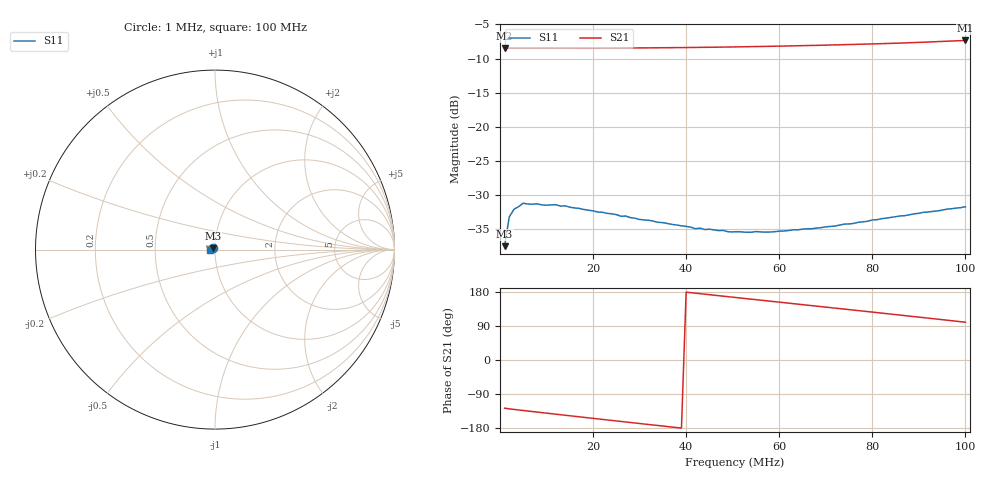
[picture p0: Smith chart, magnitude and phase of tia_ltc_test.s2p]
# HZ S RI R 50
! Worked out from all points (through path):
!   100 points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, 1 MHz to 100 MHz, reference 50 ohm
!   highest |S21| = -7.34 dB at 100 MHz (marker M1); lowest = -8.5 dB at 1 MHz (marker M2)
!   lowest |S11| = -37.5 dB at 1 MHz (marker M3), VSWR 1.03, Z = 48.9 + j0.756 ohm
!   |S11| at or under -10 dB: start of sweep to end of sweep
!   S12 and S22 are empty: the file has one direction only
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1000001  -0.011 0.00773  -0.2276 -0.2997  0 0  0 0
2000001  -0.0138 0.0171  -0.2375 -0.294  0 0  0 0
3000001  -0.0146 0.0202  -0.2453 -0.288  0 0  0 0
5000001  -0.0163 0.0224  -0.2592 -0.2755  0 0  0 0
1e7  -0.0144 0.0225  -0.2906 -0.2416  0 0  0 0
1.2e7  -0.0149 0.0225  -0.3019 -0.2274  0 0  0 0
1.8e7  -0.0138 0.0207  -0.3311 -0.1817  0 0  0 0
2.5e7  -0.0133 0.0185  -0.357 -0.1243  0 0  0 0
2.6e7  -0.013 0.018  -0.3601 -0.1158  0 0  0 0
2.7e7  -0.0132 0.0179  -0.3629 -0.1076  0 0  0 0
3.4e7  -0.0133 0.015  -0.3768 -0.0465  0 0  0 0
4.2e7  -0.0135 0.012  -0.3811 0.0243  0 0  0 0
4.3e7  -0.0138 0.0118  -0.381 0.0332  0 0  0 0
4.4e7  -0.0136 0.0114  -0.3803 0.042  0 0  0 0
4.8e7  -0.0142 0.0102  -0.3765 0.0774  0 0  0 0
4.9e7  -0.0142 0.00952  -0.3749 0.0858  0 0  0 0
5.1e7  -0.0145 0.00911  -0.3716 0.1034  0 0  0 0
5.8e7  -0.0157 0.00652  -0.3536 0.1626  0 0  0 0
6.7e7  -0.0175 0.00416  -0.3173 0.2352  0 0  0 0
7.6e7  -0.0196 0.00198  -0.2672 0.3  0 0  0 0
8.4e7  -0.0218 0.000728  -0.2113 0.3502  0 0  0 0
1e8  -0.026 -0.000253  -0.0722 0.4235  0 0  0 0
